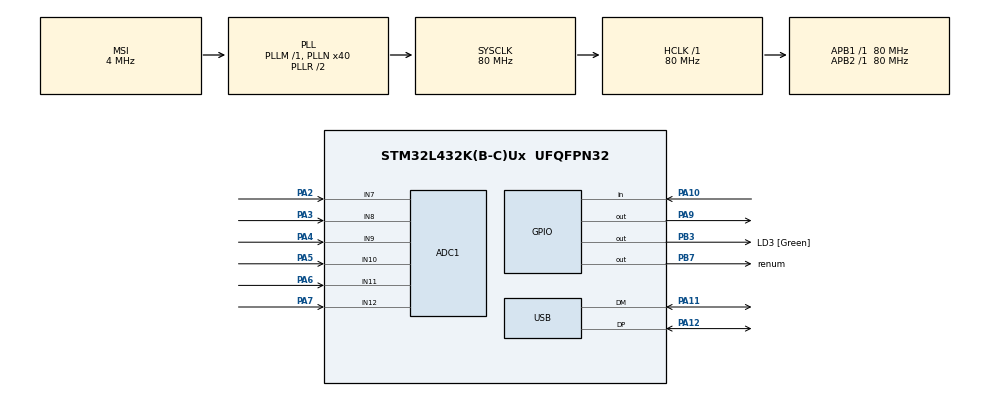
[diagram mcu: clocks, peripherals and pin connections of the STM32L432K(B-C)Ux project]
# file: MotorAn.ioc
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ADC1.Channel-10\#ChannelRegularConversion=ADC_CHANNEL_10
ADC1.Channel-11\#ChannelRegularConversion=ADC_CHANNEL_11
ADC1.Channel-12\#ChannelRegularConversion=ADC_CHANNEL_12
ADC1.Channel-7\#ChannelRegularConversion=ADC_CHANNEL_7
ADC1.Channel-8\#ChannelRegularConversion=ADC_CHANNEL_8
ADC1.Channel-9\#ChannelRegularConversion=ADC_CHANNEL_9
ADC1.ClockPrescaler=ADC_CLOCK_ASYNC_DIV2
ADC1.DMAContinuousRequests=ENABLE
ADC1.ExternalTrigConv=ADC_EXTERNALTRIG_T1_TRGO
ADC1.NbrOfConversion=6
ADC1.NbrOfConversionFlag=1
ADC1.OffsetNumber-10\#ChannelRegularConversion=ADC_OFFSET_NONE
ADC1.OffsetNumber-11\#ChannelRegularConversion=ADC_OFFSET_NONE
ADC1.OffsetNumber-12\#ChannelRegularConversion=ADC_OFFSET_NONE
ADC1.OffsetNumber-7\#ChannelRegularConversion=ADC_OFFSET_NONE
ADC1.OffsetNumber-8\#ChannelRegularConversion=ADC_OFFSET_NONE
ADC1.OffsetNumber-9\#ChannelRegularConversion=ADC_OFFSET_NONE
ADC1.OversamplingMode=ENABLE
ADC1.Rank-10\#ChannelRegularConversion=4
ADC1.Rank-11\#ChannelRegularConversion=5
ADC1.Rank-12\#ChannelRegularConversion=6
ADC1.Rank-7\#ChannelRegularConversion=1
ADC1.Rank-8\#ChannelRegularConversion=2
ADC1.Rank-9\#ChannelRegularConversion=3
ADC1.Ratio=ADC_OVERSAMPLING_RATIO_8
ADC1.RightBitShift=ADC_RIGHTBITSHIFT_3
ADC1.SamplingTime-10\#ChannelRegularConversion=ADC_SAMPLETIME_24CYCLES_5
ADC1.SamplingTime-11\#ChannelRegularConversion=ADC_SAMPLETIME_24CYCLES_5
ADC1.SamplingTime-12\#ChannelRegularConversion=ADC_SAMPLETIME_24CYCLES_5
ADC1.SamplingTime-7\#ChannelRegularConversion=ADC_SAMPLETIME_24CYCLES_5
ADC1.SamplingTime-8\#ChannelRegularConversion=ADC_SAMPLETIME_24CYCLES_5
ADC1.SamplingTime-9\#ChannelRegularConversion=ADC_SAMPLETIME_24CYCLES_5
ADC1.master=1
Dma.ADC1.0.Direction=DMA_PERIPH_TO_MEMORY
Dma.ADC1.0.Instance=DMA1_Channel1
Dma.ADC1.0.MemDataAlignment=DMA_MDATAALIGN_HALFWORD
Dma.ADC1.0.MemInc=DMA_MINC_ENABLE
Dma.ADC1.0.Mode=DMA_CIRCULAR
Dma.ADC1.0.PeriphDataAlignment=DMA_PDATAALIGN_HALFWORD
Dma.ADC1.0.PeriphInc=DMA_PINC_DISABLE
Dma.ADC1.0.Priority=DMA_PRIORITY_VERY_HIGH
Dma.Request0=ADC1
Mcu.Family=STM32L4
Mcu.Name=STM32L432K(B-C)Ux
Mcu.Package=UFQFPN32
NVIC.DMA1_Channel1_IRQn=true\:0\:0\:false\:false\:true\:false\:true\:true
NVIC.PriorityGroup=NVIC_PRIORITYGROUP_4
NVIC.USB_IRQn=true\:0\:0\:false\:false\:true\:false\:true\:true
PA0.GPIO_Label=MCO [High speed clock in]
PA0.Mode=HSE-External-Clock-Source-for-LittleOrca
PA0.Signal=RCC_CK_IN
PA10.Signal=GPIO_Input
PA11.Mode=Device
PA11.Signal=USB_DM
PA12.Mode=Device
PA12.Signal=USB_DP
PA13\ (JTMS-SWDIO).GPIO_Label=SWDIO
PA13\ (JTMS-SWDIO).Mode=Serial_Wire
PA13\ (JTMS-SWDIO).Signal=SYS_JTMS-SWDIO
PA14\ (JTCK-SWCLK).GPIO_Label=SWCLK
PA14\ (JTCK-SWCLK).Mode=Serial_Wire
PA14\ (JTCK-SWCLK).Signal=SYS_JTCK-SWCLK
PA2.Signal=ADCx_IN7
PA3.Signal=ADCx_IN8
PA4.Signal=ADCx_IN9
PA5.Signal=ADCx_IN10
PA6.Signal=ADCx_IN11
PA7.Signal=ADCx_IN12
PA9.Signal=GPIO_Output
PB3\ (JTDO-TRACESWO).GPIO_Label=LD3 [Green]
PB3\ (JTDO-TRACESWO).PinState=GPIO_PIN_RESET
PB3\ (JTDO-TRACESWO).Signal=GPIO_Output
PB7.GPIO_Label=renum
PB7.GPIO_ModeDefaultOutputPP=GPIO_MODE_OUTPUT_PP
PB7.GPIO_PuPd=GPIO_NOPULL
PB7.PinState=GPIO_PIN_RESET
PB7.Signal=GPIO_Output
PC14-OSC32_IN\ (PC14).Mode=LSE-External-Oscillator
PC14-OSC32_IN\ (PC14).Signal=RCC_OSC32_IN
PC15-OSC32_OUT\ (PC15).Mode=LSE-External-Oscillator
PC15-OSC32_OUT\ (PC15).Signal=RCC_OSC32_OUT
ProjectManager.HeapSize=0x200
ProjectManager.StackSize=0x400
ProjectManager.TargetToolchain=STM32CubeIDE
RCC.ADCCLockSelection=RCC_ADCCLKSOURCE_SYSCLK
RCC.ADCFreq_Value=80000000
RCC.AHBFreq_Value=80000000
RCC.APB1Freq_Value=80000000
RCC.APB1TimFreq_Value=80000000
RCC.APB2Freq_Value=80000000
RCC.APB2TimFreq_Value=80000000
RCC.CortexFreq_Value=80000000
RCC.FLatency-AdvancedSettings=FLASH_LATENCY_4
RCC.HCLKFreq_Value=80000000
RCC.HSE_VALUE=8000000
RCC.HSI16_VALUE=16000000
RCC.HSI48_VALUE=48000000
RCC.HSI_VALUE=16000000
RCC.MSI_VALUE=4000000
RCC.PLLMUL=RCC_PLLMUL_4
RCC.PLLN=40
RCC.PLLSAI1N=24
RCC.SYSCLKFreq_VALUE=80000000
RCC.SYSCLKSource=RCC_SYSCLKSOURCE_PLLCLK
RCC.USBFreq_Value=48000000
RCC.VCOOutputFreq_Value=160000000
SH.ADCx_IN10.0=ADC1_IN10,IN10-Single-Ended
SH.ADCx_IN11.0=ADC1_IN11,IN11-Single-Ended
SH.ADCx_IN12.0=ADC1_IN12,IN12-Single-Ended
SH.ADCx_IN7.0=ADC1_IN7,IN7-Single-Ended
SH.ADCx_IN8.0=ADC1_IN8,IN8-Single-Ended
SH.ADCx_IN9.0=ADC1_IN9,IN9-Single-Ended
TIM1.Period=6755
TIM1.TIM_MasterOutputTrigger=TIM_TRGO_UPDATE
USB_DEVICE.APP_RX_DATA_SIZE=960
USB_DEVICE.APP_TX_DATA_SIZE=960
USB_DEVICE.CLASS_NAME_FS=CDC
USB_DEVICE.VirtualMode=Cdc
USB_DEVICE.VirtualModeFS=Cdc_FS
VP_TIM1_VS_ClockSourceINT.Mode=Internal
VP_USB_DEVICE_VS_USB_DEVICE_CDC_FS.Mode=CDC_FS
board=NUCLEO-L432KC

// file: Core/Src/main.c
/* USER CODE BEGIN Header */
/**
  ******************************************************************************
  * @file           : main.c
  * @brief          : Main program body
  ******************************************************************************
  * @attention
  *
  * Copyright (c) 2024 STMicroelectronics.
  * All rights reserved.
  *
  * This software is licensed under terms that can be found in the LICENSE file
  * in the root directory of this software component.
  * If no LICENSE file comes with this software, it is provided AS-IS.
  *
  ******************************************************************************
  */
/* USER CODE END Header */
#include "main.h"
#include "usb_device.h"

/* USER CODE BEGIN Includes */
#include "usbd_cdc_if.h"
#include "MotorAnFunc.h"
/* USER CODE END Includes */

/* USER CODE BEGIN PD */

#define ADC_BUFFER_SIZE 960   // Total buffer size for ADC data
#define USB_BUFFER_SIZE 960   // Fixed USB transmission buffer size
#define USB_TRANSMIT_TIMEOUT 50 // Define USB_TRANSMIT_TIMEOUT

/* USER CODE END PD */

ADC_HandleTypeDef hadc1;
DMA_HandleTypeDef hdma_adc1;

TIM_HandleTypeDef htim1;

/* USER CODE BEGIN PV */

uint16_t adcBuffer[ADC_BUFFER_SIZE];    // ADC buffer
uint8_t usbBuffer[USB_BUFFER_SIZE];    	// USB transmission buffer
volatile uint8_t dmaHalfComplete = 0;  	// Flag for DMA half-complete
volatile uint8_t dmaComplete = 0;      	// Flag for DMA complete

/* USER CODE END PV */

void SystemClock_Config(void);
static void MX_GPIO_Init(void);
static void MX_DMA_Init(void);
static void MX_ADC1_Init(void);
static void MX_TIM1_Init(void);

int main(void)
{

  /* MCU Configuration--------------------------------------------------------*/

  /* Reset of all peripherals, Initializes the Flash interface and the Systick. */
  HAL_Init();

  /* Configure the system clock */
  SystemClock_Config();

  /* Initialize all configured peripherals */
  MX_GPIO_Init();
  MX_DMA_Init();
  MX_ADC1_Init();
  MX_USB_DEVICE_Init();
  MX_TIM1_Init();
  /* USER CODE BEGIN 2 */

  /* Start ADC and DMA in circular mode */
       HAL_ADC_Start_DMA(&hadc1, (uint32_t *)adcBuffer, ADC_BUFFER_SIZE);

       /* Start Timer to trigger ADC */
       HAL_TIM_Base_Start(&htim1);

  /* USER CODE END 2 */

  /* Infinite loop */
  while (1)
  {

    /* USER CODE BEGIN 3 */
	  	  if (dmaHalfComplete)
	      {
	          dmaHalfComplete = 0;
	          /* Copy first half of ADC buffer into USB buffer */
	          memcpy(usbBuffer, (uint8_t *)adcBuffer, USB_BUFFER_SIZE);
	          ProcessUSBSend(usbBuffer, USB_BUFFER_SIZE);
	      }

	      if (dmaComplete)
	      {
	          dmaComplete = 0;
	          /* Copy second half of ADC buffer into USB buffer */
	          memcpy(usbBuffer, (uint8_t *)&adcBuffer[ADC_BUFFER_SIZE / 2], USB_BUFFER_SIZE);
	          ProcessUSBSend(usbBuffer, USB_BUFFER_SIZE);
	      }
  }
  /* USER CODE END 3 */
}

void SystemClock_Config(void)
{
  RCC_OscInitTypeDef RCC_OscInitStruct = {0};
  RCC_ClkInitTypeDef RCC_ClkInitStruct = {0};

  /** Configure the main internal regulator output voltage
  */
  if (HAL_PWREx_ControlVoltageScaling(PWR_REGULATOR_VOLTAGE_SCALE1) != HAL_OK)
  {
    Error_Handler();
  }

  /** Configure LSE Drive Capability
  */
  HAL_PWR_EnableBkUpAccess();
  __HAL_RCC_LSEDRIVE_CONFIG(RCC_LSEDRIVE_LOW);

  /** Initializes the RCC Oscillators according to the specified parameters
  * in the RCC_OscInitTypeDef structure.
  */
  RCC_OscInitStruct.OscillatorType = RCC_OSCILLATORTYPE_LSE|RCC_OSCILLATORTYPE_MSI;
  RCC_OscInitStruct.LSEState = RCC_LSE_ON;
  RCC_OscInitStruct.MSIState = RCC_MSI_ON;
  RCC_OscInitStruct.MSICalibrationValue = 0;
  RCC_OscInitStruct.MSIClockRange = RCC_MSIRANGE_6;
  RCC_OscInitStruct.PLL.PLLState = RCC_PLL_ON;
  RCC_OscInitStruct.PLL.PLLSource = RCC_PLLSOURCE_MSI;
  RCC_OscInitStruct.PLL.PLLM = 1;
  RCC_OscInitStruct.PLL.PLLN = 40;
  RCC_OscInitStruct.PLL.PLLP = RCC_PLLP_DIV7;
  RCC_OscInitStruct.PLL.PLLQ = RCC_PLLQ_DIV2;
  RCC_OscInitStruct.PLL.PLLR = RCC_PLLR_DIV2;
  if (HAL_RCC_OscConfig(&RCC_OscInitStruct) != HAL_OK)
  {
    Error_Handler();
  }

  /** Initializes the CPU, AHB and APB buses clocks
  */
  RCC_ClkInitStruct.ClockType = RCC_CLOCKTYPE_HCLK|RCC_CLOCKTYPE_SYSCLK
                              |RCC_CLOCKTYPE_PCLK1|RCC_CLOCKTYPE_PCLK2;
  RCC_ClkInitStruct.SYSCLKSource = RCC_SYSCLKSOURCE_PLLCLK;
  RCC_ClkInitStruct.AHBCLKDivider = RCC_SYSCLK_DIV1;
  RCC_ClkInitStruct.APB1CLKDivider = RCC_HCLK_DIV1;
  RCC_ClkInitStruct.APB2CLKDivider = RCC_HCLK_DIV1;

  if (HAL_RCC_ClockConfig(&RCC_ClkInitStruct, FLASH_LATENCY_4) != HAL_OK)
  {
    Error_Handler();
  }

  /** Enable MSI Auto calibration
  */
  HAL_RCCEx_EnableMSIPLLMode();
}

static void MX_ADC1_Init(void)
{

  ADC_ChannelConfTypeDef sConfig = {0};

  /** Common config
  */
  hadc1.Instance = ADC1;
  hadc1.Init.ClockPrescaler = ADC_CLOCK_ASYNC_DIV2;
  hadc1.Init.Resolution = ADC_RESOLUTION_12B;
  hadc1.Init.DataAlign = ADC_DATAALIGN_RIGHT;
  hadc1.Init.ScanConvMode = ADC_SCAN_ENABLE;
  hadc1.Init.EOCSelection = ADC_EOC_SINGLE_CONV;
  hadc1.Init.LowPowerAutoWait = DISABLE;
  hadc1.Init.ContinuousConvMode = DISABLE;
  hadc1.Init.NbrOfConversion = 6;
  hadc1.Init.DiscontinuousConvMode = DISABLE;
  hadc1.Init.ExternalTrigConv = ADC_EXTERNALTRIG_T1_TRGO;
  hadc1.Init.ExternalTrigConvEdge = ADC_EXTERNALTRIGCONVEDGE_RISING;
  hadc1.Init.DMAContinuousRequests = ENABLE;
  hadc1.Init.Overrun = ADC_OVR_DATA_PRESERVED;
  hadc1.Init.OversamplingMode = ENABLE;
  hadc1.Init.Oversampling.Ratio = ADC_OVERSAMPLING_RATIO_8;
  hadc1.Init.Oversampling.RightBitShift = ADC_RIGHTBITSHIFT_3;
  hadc1.Init.Oversampling.TriggeredMode = ADC_TRIGGEREDMODE_SINGLE_TRIGGER;
  hadc1.Init.Oversampling.OversamplingStopReset = ADC_REGOVERSAMPLING_CONTINUED_MODE;
  if (HAL_ADC_Init(&hadc1) != HAL_OK)
  {
    Error_Handler();
  }

  /** Configure Regular Channel
  */
  sConfig.Channel = ADC_CHANNEL_7;
  sConfig.Rank = ADC_REGULAR_RANK_1;
  sConfig.SamplingTime = ADC_SAMPLETIME_24CYCLES_5;
  sConfig.SingleDiff = ADC_SINGLE_ENDED;
  sConfig.OffsetNumber = ADC_OFFSET_NONE;
  sConfig.Offset = 0;
  if (HAL_ADC_ConfigChannel(&hadc1, &sConfig) != HAL_OK)
  {
    Error_Handler();
  }

  /** Configure Regular Channel
  */
  sConfig.Channel = ADC_CHANNEL_8;
  sConfig.Rank = ADC_REGULAR_RANK_2;
  if (HAL_ADC_ConfigChannel(&hadc1, &sConfig) != HAL_OK)
  {
    Error_Handler();
  }

  /** Configure Regular Channel
  */
  sConfig.Channel = ADC_CHANNEL_9;
  sConfig.Rank = ADC_REGULAR_RANK_3;
  if (HAL_ADC_ConfigChannel(&hadc1, &sConfig) != HAL_OK)
  {
    Error_Handler();
  }

  /** Configure Regular Channel
  */
  sConfig.Channel = ADC_CHANNEL_10;
  sConfig.Rank = ADC_REGULAR_RANK_4;
  if (HAL_ADC_ConfigChannel(&hadc1, &sConfig) != HAL_OK)
  {
    Error_Handler();
  }

  /** Configure Regular Channel
  */
  sConfig.Channel = ADC_CHANNEL_11;
  sConfig.Rank = ADC_REGULAR_RANK_5;
  if (HAL_ADC_ConfigChannel(&hadc1, &sConfig) != HAL_OK)
  {
    Error_Handler();
  }

  /** Configure Regular Channel
  */
  sConfig.Channel = ADC_CHANNEL_12;
  sConfig.Rank = ADC_REGULAR_RANK_6;
  if (HAL_ADC_ConfigChannel(&hadc1, &sConfig) != HAL_OK)
  {
    Error_Handler();
  }

}

static void MX_TIM1_Init(void)
{

  TIM_ClockConfigTypeDef sClockSourceConfig = {0};
  TIM_MasterConfigTypeDef sMasterConfig = {0};

  htim1.Instance = TIM1;
  htim1.Init.Prescaler = 0;
  htim1.Init.CounterMode = TIM_COUNTERMODE_UP;
  htim1.Init.Period = 6755;
  htim1.Init.ClockDivision = TIM_CLOCKDIVISION_DIV1;
  htim1.Init.RepetitionCounter = 0;
  htim1.Init.AutoReloadPreload = TIM_AUTORELOAD_PRELOAD_DISABLE;
  if (HAL_TIM_Base_Init(&htim1) != HAL_OK)
  {
    Error_Handler();
  }
  sClockSourceConfig.ClockSource = TIM_CLOCKSOURCE_INTERNAL;
  if (HAL_TIM_ConfigClockSource(&htim1, &sClockSourceConfig) != HAL_OK)
  {
    Error_Handler();
  }
  sMasterConfig.MasterOutputTrigger = TIM_TRGO_UPDATE;
  sMasterConfig.MasterOutputTrigger2 = TIM_TRGO2_RESET;
  sMasterConfig.MasterSlaveMode = TIM_MASTERSLAVEMODE_DISABLE;
  if (HAL_TIMEx_MasterConfigSynchronization(&htim1, &sMasterConfig) != HAL_OK)
  {
    Error_Handler();
  }

}

static void MX_DMA_Init(void)
{

  /* DMA controller clock enable */
  __HAL_RCC_DMA1_CLK_ENABLE();

  /* DMA interrupt init */
  /* DMA1_Channel1_IRQn interrupt configuration */
  HAL_NVIC_SetPriority(DMA1_Channel1_IRQn, 0, 0);
  HAL_NVIC_EnableIRQ(DMA1_Channel1_IRQn);

}

static void MX_GPIO_Init(void)
{
  GPIO_InitTypeDef GPIO_InitStruct = {0};

  /* GPIO Ports Clock Enable */
  __HAL_RCC_GPIOC_CLK_ENABLE();
  __HAL_RCC_GPIOA_CLK_ENABLE();
  __HAL_RCC_GPIOB_CLK_ENABLE();

  /*Configure GPIO pin Output Level */
  HAL_GPIO_WritePin(GPIOA, GPIO_PIN_9, GPIO_PIN_RESET);

  /*Configure GPIO pin Output Level */
  HAL_GPIO_WritePin(GPIOB, LD3_Pin|renum_Pin, GPIO_PIN_RESET);

  /*Configure GPIO pin : PA9 */
  GPIO_InitStruct.Pin = GPIO_PIN_9;
  GPIO_InitStruct.Mode = GPIO_MODE_OUTPUT_PP;
  GPIO_InitStruct.Pull = GPIO_NOPULL;
  GPIO_InitStruct.Speed = GPIO_SPEED_FREQ_LOW;
  HAL_GPIO_Init(GPIOA, &GPIO_InitStruct);

  /*Configure GPIO pin : PA10 */
  GPIO_InitStruct.Pin = GPIO_PIN_10;
  GPIO_InitStruct.Mode = GPIO_MODE_INPUT;
  GPIO_InitStruct.Pull = GPIO_NOPULL;
  HAL_GPIO_Init(GPIOA, &GPIO_InitStruct);

  /*Configure GPIO pins : LD3_Pin renum_Pin */
  GPIO_InitStruct.Pin = LD3_Pin|renum_Pin;
  GPIO_InitStruct.Mode = GPIO_MODE_OUTPUT_PP;
  GPIO_InitStruct.Pull = GPIO_NOPULL;
  GPIO_InitStruct.Speed = GPIO_SPEED_FREQ_LOW;
  HAL_GPIO_Init(GPIOB, &GPIO_InitStruct);

}

/* USER CODE BEGIN 4 */

void HAL_ADC_ConvHalfCpltCallback(ADC_HandleTypeDef *hadc)
{
    dmaHalfComplete = 1;  // Set flag for half-complete
}

void HAL_ADC_ConvCpltCallback(ADC_HandleTypeDef *hadc)
{
    dmaComplete = 1;  // Set flag for complete
}

void HAL_ADC_ErrorCallback(ADC_HandleTypeDef *hadc)
{
	// Check for Overrun Error
    if (__HAL_ADC_GET_FLAG(hadc, ADC_FLAG_OVR))
    {
        __HAL_ADC_CLEAR_FLAG(hadc, ADC_FLAG_OVR); // Clear ADC overrun flag
        HAL_GPIO_WritePin(GPIOB, GPIO_PIN_3, GPIO_PIN_SET); // Status LED
    }
}

void HAL_DMA_ErrorCallback(DMA_HandleTypeDef *hdma)
{
    // Check for Transfer Error
    if (DMA1->ISR & DMA_ISR_TEIF1)
    {
        DMA1->IFCR |= DMA_IFCR_CTEIF1; // Clear Transfer Error flag
        HAL_GPIO_WritePin(GPIOB, GPIO_PIN_3, GPIO_PIN_SET); // DEBUG LED

    }
}

void ProcessUSBSend(uint8_t *buffer, uint16_t size)
{
	if (!buffer)
		    {
				HAL_GPIO_WritePin(GPIOB, GPIO_PIN_3, GPIO_PIN_SET);
		        return;
		    }

	uint32_t timeout = HAL_GetTick(); // Record time

    while (CDC_Transmit_FS(buffer, size) != USBD_OK)
    {
    	if ((HAL_GetTick() - timeout) > USB_TRANSMIT_TIMEOUT) //Timeout indicator
    	 	 {
    			HAL_GPIO_TogglePin (GPIOB, GPIO_PIN_3); //DEBUG LED
    			HAL_Delay (100);
    	 	 }
    }
}

/* USER CODE END 4 */

void Error_Handler(void)
{
  __disable_irq();
  while (1)
  {
  }
}
